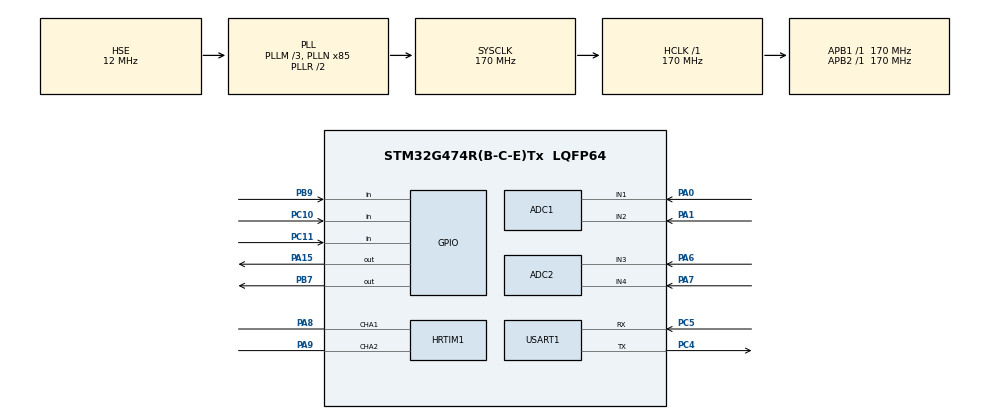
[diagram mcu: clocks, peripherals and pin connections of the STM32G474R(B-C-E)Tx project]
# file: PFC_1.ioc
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ADC1.Channel-1\#ChannelRegularConversion=ADC_CHANNEL_1
ADC1.Channel-2\#ChannelRegularConversion=ADC_CHANNEL_2
ADC1.ContinuousConvMode=ENABLE
ADC1.DMAContinuousRequests=ENABLE
ADC1.EOCSelection=ADC_EOC_SEQ_CONV
ADC1.NbrOfConversion=2
ADC1.NbrOfConversionFlag=1
ADC1.OffsetNumber-1\#ChannelRegularConversion=ADC_OFFSET_NONE
ADC1.OffsetNumber-2\#ChannelRegularConversion=ADC_OFFSET_NONE
ADC1.Rank-1\#ChannelRegularConversion=1
ADC1.Rank-2\#ChannelRegularConversion=2
ADC1.SamplingTime-1\#ChannelRegularConversion=ADC_SAMPLETIME_47CYCLES_5
ADC1.SamplingTime-2\#ChannelRegularConversion=ADC_SAMPLETIME_47CYCLES_5
ADC1.master=1
ADC2.Channel-0\#ChannelRegularConversion=ADC_CHANNEL_3
ADC2.Channel-1\#ChannelRegularConversion=ADC_CHANNEL_4
ADC2.ContinuousConvMode=ENABLE
ADC2.DMAContinuousRequests=ENABLE
ADC2.EOCSelection=ADC_EOC_SEQ_CONV
ADC2.NbrOfConversion=2
ADC2.NbrOfConversionFlag=1
ADC2.OffsetNumber-0\#ChannelRegularConversion=ADC_OFFSET_NONE
ADC2.OffsetNumber-1\#ChannelRegularConversion=ADC_OFFSET_NONE
ADC2.Rank-0\#ChannelRegularConversion=1
ADC2.Rank-1\#ChannelRegularConversion=2
ADC2.SamplingTime-0\#ChannelRegularConversion=ADC_SAMPLETIME_47CYCLES_5
ADC2.SamplingTime-1\#ChannelRegularConversion=ADC_SAMPLETIME_47CYCLES_5
Dma.ADC1.2.Direction=DMA_PERIPH_TO_MEMORY
Dma.ADC1.2.EventEnable=DISABLE
Dma.ADC1.2.Instance=DMA1_Channel3
Dma.ADC1.2.MemDataAlignment=DMA_MDATAALIGN_HALFWORD
Dma.ADC1.2.MemInc=DMA_MINC_ENABLE
Dma.ADC1.2.Mode=DMA_CIRCULAR
Dma.ADC1.2.PeriphDataAlignment=DMA_PDATAALIGN_HALFWORD
Dma.ADC1.2.PeriphInc=DMA_PINC_DISABLE
Dma.ADC1.2.Polarity=HAL_DMAMUX_REQ_GEN_RISING
Dma.ADC1.2.Priority=DMA_PRIORITY_LOW
Dma.ADC1.2.RequestNumber=1
Dma.ADC1.2.SignalID=NONE
Dma.ADC1.2.SyncEnable=DISABLE
Dma.ADC1.2.SyncPolarity=HAL_DMAMUX_SYNC_NO_EVENT
Dma.ADC1.2.SyncRequestNumber=1
Dma.ADC1.2.SyncSignalID=NONE
Dma.ADC2.3.Direction=DMA_PERIPH_TO_MEMORY
Dma.ADC2.3.EventEnable=DISABLE
Dma.ADC2.3.Instance=DMA1_Channel4
Dma.ADC2.3.MemDataAlignment=DMA_MDATAALIGN_HALFWORD
Dma.ADC2.3.MemInc=DMA_MINC_ENABLE
Dma.ADC2.3.Mode=DMA_CIRCULAR
Dma.ADC2.3.PeriphDataAlignment=DMA_PDATAALIGN_HALFWORD
Dma.ADC2.3.PeriphInc=DMA_PINC_DISABLE
Dma.ADC2.3.Polarity=HAL_DMAMUX_REQ_GEN_RISING
Dma.ADC2.3.Priority=DMA_PRIORITY_LOW
Dma.ADC2.3.RequestNumber=1
Dma.ADC2.3.SignalID=NONE
Dma.ADC2.3.SyncEnable=DISABLE
Dma.ADC2.3.SyncPolarity=HAL_DMAMUX_SYNC_NO_EVENT
Dma.ADC2.3.SyncRequestNumber=1
Dma.ADC2.3.SyncSignalID=NONE
Dma.Request0=USART1_RX
Dma.Request1=USART1_TX
Dma.Request2=ADC1
Dma.Request3=ADC2
Dma.USART1_RX.0.Direction=DMA_PERIPH_TO_MEMORY
Dma.USART1_RX.0.EventEnable=DISABLE
Dma.USART1_RX.0.Instance=DMA1_Channel1
Dma.USART1_RX.0.MemDataAlignment=DMA_MDATAALIGN_BYTE
Dma.USART1_RX.0.MemInc=DMA_MINC_ENABLE
Dma.USART1_RX.0.Mode=DMA_NORMAL
Dma.USART1_RX.0.PeriphDataAlignment=DMA_PDATAALIGN_BYTE
Dma.USART1_RX.0.PeriphInc=DMA_PINC_DISABLE
Dma.USART1_RX.0.Polarity=HAL_DMAMUX_REQ_GEN_RISING
Dma.USART1_RX.0.Priority=DMA_PRIORITY_LOW
Dma.USART1_RX.0.RequestNumber=1
Dma.USART1_RX.0.SignalID=NONE
Dma.USART1_RX.0.SyncEnable=DISABLE
Dma.USART1_RX.0.SyncPolarity=HAL_DMAMUX_SYNC_NO_EVENT
Dma.USART1_RX.0.SyncRequestNumber=1
Dma.USART1_RX.0.SyncSignalID=NONE
Dma.USART1_TX.1.Direction=DMA_MEMORY_TO_PERIPH
Dma.USART1_TX.1.EventEnable=DISABLE
Dma.USART1_TX.1.Instance=DMA1_Channel2
Dma.USART1_TX.1.MemDataAlignment=DMA_MDATAALIGN_BYTE
Dma.USART1_TX.1.MemInc=DMA_MINC_ENABLE
Dma.USART1_TX.1.Mode=DMA_NORMAL
Dma.USART1_TX.1.PeriphDataAlignment=DMA_PDATAALIGN_BYTE
Dma.USART1_TX.1.PeriphInc=DMA_PINC_DISABLE
Dma.USART1_TX.1.Polarity=HAL_DMAMUX_REQ_GEN_RISING
Dma.USART1_TX.1.Priority=DMA_PRIORITY_LOW
Dma.USART1_TX.1.RequestNumber=1
Dma.USART1_TX.1.SignalID=NONE
Dma.USART1_TX.1.SyncEnable=DISABLE
Dma.USART1_TX.1.SyncPolarity=HAL_DMAMUX_SYNC_NO_EVENT
Dma.USART1_TX.1.SyncRequestNumber=1
Dma.USART1_TX.1.SyncSignalID=NONE
HRTIM1.CompareUnit1-Output_TA1TA2=HRTIM_COMPAREUNIT_1
HRTIM1.CompareValue1-Output_TA1TA2=36266
HRTIM1.DeadTimeInsertion-Output_TA1TA2=HRTIM_TIMDEADTIMEINSERTION_ENABLED
HRTIM1.FallingValue-Output_TA1TA2=500
HRTIM1.NumberResetSource1-Output_TA1TA2=1
HRTIM1.NumberSetSource1-Output_TA1TA2=1
HRTIM1.Periode_TA=54400
HRTIM1.Polarity1-Output_TA1TA2=HRTIM_OUTPUTPOLARITY_HIGH
HRTIM1.Polarity2-Output_TA1TA2=HRTIM_OUTPUTPOLARITY_HIGH
HRTIM1.PrescalerDead-Output_TA1TA2=HRTIM_TIMDEADTIME_PRESCALERRATIO_MUL2
HRTIM1.PrescalerRatio_TA=HRTIM_PRESCALERRATIO_MUL16
HRTIM1.ResetOutput1_Source1-Output_TA1TA2=HRTIM_OUTPUTRESET_TIMCMP1
HRTIM1.RisingValue-Output_TA1TA2=500
HRTIM1.SetOutput1_Source1-Output_TA1TA2=HRTIM_OUTPUTSET_TIMPER
Mcu.Family=STM32G4
Mcu.Name=STM32G474R(B-C-E)Tx
Mcu.Package=LQFP64
NVIC.ADC1_2_IRQn=true\:0\:0\:false\:false\:true\:true\:true\:true
NVIC.DMA1_Channel1_IRQn=true\:0\:0\:false\:false\:true\:false\:true\:true
NVIC.DMA1_Channel2_IRQn=true\:0\:0\:false\:false\:true\:false\:true\:true
NVIC.DMA1_Channel3_IRQn=true\:0\:0\:false\:false\:true\:false\:true\:true
NVIC.DMA1_Channel4_IRQn=true\:0\:0\:false\:false\:true\:false\:true\:true
NVIC.PriorityGroup=NVIC_PRIORITYGROUP_4
NVIC.TIM3_IRQn=true\:0\:0\:false\:false\:true\:true\:true\:true
NVIC.TIM4_IRQn=true\:0\:0\:false\:false\:true\:true\:true\:true
NVIC.USART1_IRQn=true\:0\:0\:false\:false\:true\:true\:true\:true
PA0.Mode=IN1-Single-Ended
PA0.Signal=ADC1_IN1
PA1.Mode=IN2-Single-Ended
PA1.Signal=ADC1_IN2
PA13.Mode=Serial_Wire
PA13.Signal=SYS_JTMS-SWDIO
PA14.Mode=Serial_Wire
PA14.Signal=SYS_JTCK-SWCLK
PA15.GPIO_ModeDefaultOutputPP=GPIO_MODE_OUTPUT_OD
PA15.GPIO_PuPd=GPIO_NOPULL
PA15.GPIO_Speed=GPIO_SPEED_FREQ_HIGH
PA15.PinState=GPIO_PIN_RESET
PA15.Signal=GPIO_Output
PA6.Mode=IN3-Single-Ended
PA6.Signal=ADC2_IN3
PA7.Mode=IN4-Single-Ended
PA7.Signal=ADC2_IN4
PA8.Mode=Output_TA1TA2
PA8.Signal=HRTIM1_CHA1
PA9.Mode=Output_TA1TA2
PA9.Signal=HRTIM1_CHA2
PB7.GPIO_ModeDefaultOutputPP=GPIO_MODE_OUTPUT_OD
PB7.GPIO_PuPd=GPIO_NOPULL
PB7.GPIO_Speed=GPIO_SPEED_FREQ_HIGH
PB7.PinState=GPIO_PIN_RESET
PB7.Signal=GPIO_Output
PB9.Signal=GPIO_Input
PC10.Signal=GPIO_Input
PC11.Signal=GPIO_Input
PC4.Mode=Asynchronous
PC4.Signal=USART1_TX
PC5.Mode=Asynchronous
PC5.Signal=USART1_RX
PF0-OSC_IN.Mode=HSE-External-Clock-Source
PF0-OSC_IN.Signal=RCC_OSC_IN
ProjectManager.HeapSize=0x200
ProjectManager.StackSize=0x400
ProjectManager.TargetToolchain=MDK-ARM V5.32
RCC.ADC12Freq_Value=170000000
RCC.ADC345Freq_Value=170000000
RCC.AHBFreq_Value=170000000
RCC.APB1Freq_Value=170000000
RCC.APB1TimFreq_Value=170000000
RCC.APB2Freq_Value=170000000
RCC.APB2TimFreq_Value=170000000
RCC.CortexFreq_Value=170000000
RCC.EXTERNAL_CLOCK_VALUE=12288000
RCC.HCLKFreq_Value=170000000
RCC.HSE_VALUE=12000000
RCC.HSI48_VALUE=48000000
RCC.HSI_VALUE=16000000
RCC.LSE_VALUE=32768
RCC.PLLM=RCC_PLLM_DIV3
RCC.PLLN=85
RCC.PLLSourceVirtual=RCC_PLLSOURCE_HSE
RCC.SYSCLKFreq_VALUE=170000000
RCC.SYSCLKSource=RCC_SYSCLKSOURCE_PLLCLK
RCC.USBFreq_Value=170000000
RCC.VCOOutputFreq_Value=340000000
STMicroelectronics.X-CUBE-ALGOBUILD.1.4.0.LibraryCcDSPOoLibraryJjDSPOoLibrary=true
TIM3.PeriodNoDither=75-1
TIM3.Prescaler=170-1
TIM4.PeriodNoDither=1000-1
TIM4.Prescaler=170-1
USART1.VirtualMode-Asynchronous=VM_ASYNC
VP_STMicroelectronics.X-CUBE-ALGOBUILD_VS_DSPOoLibraryJjLibrary_1.4.0_1.4.0.Mode=DSPOoLibraryJjLibrary
VP_SYS_VS_DBSignals.Mode=DisableDeadBatterySignals
VP_TIM3_VS_ClockSourceINT.Mode=Internal
VP_TIM4_VS_ClockSourceINT.Mode=Internal
board=custom

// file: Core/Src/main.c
/* USER CODE BEGIN Header */
/**
  ******************************************************************************
  * @file           : main.c
  * @brief          : Main program body
  ******************************************************************************
  * @attention
  *
  * Copyright (c) 2025 STMicroelectronics.
  * All rights reserved.
  *
  * This software is licensed under terms that can be found in the LICENSE file
  * in the root directory of this software component.
  * If no LICENSE file comes with this software, it is provided AS-IS.
  *
  ******************************************************************************
  */
/* USER CODE END Header */
#include "main.h"
#include "adc.h"
#include "dma.h"
#include "hrtim.h"
#include "tim.h"
#include "usart.h"
#include "gpio.h"

/* USER CODE BEGIN Includes */
#include "arm_math.h"
#include "OLED.h"
/* USER CODE END Includes */

/* USER CODE BEGIN PD */
#define CENTER_FREQ 50
#define SOGI_K 1
#define SAMPLE_TIME 0.000075
#define LIMIT(x,min,max) (x)=(((x)<=(min))?(min):(((x)>=(max))?(max):(x)))
/* USER CODE END PD */

/* USER CODE BEGIN PV */
typedef struct SOGI_Structure
{
    float32_t Ug, Ua, Ub, k, W0, dt;
}SOGI_s;

SOGI_s sogi_s;
float32_t t;
float32_t wave_input;

float32_t d,q;
float32_t sinVal, cosVal;
float32_t w = CENTER_FREQ * 2 * PI;
float32_t phase_W = 0.0;

uint16_t ADC1_Buffer[2];
uint16_t ADC2_Buffer[2];

arm_pid_instance_f32 PID_S;
float32_t out_cosine;
float32_t out_amplitude = 0.7;
float32_t out_duty;
uint16_t out_pwm;

SOGI_s sogi_s_I;
float32_t Id, Iq;

float32_t out_U;
float32_t out_U_set = 36;

uint16_t soft_start = 30000;

uint8_t PinB9_Pressed,PinC11_Pressed,PinC10_Pressed;
uint16_t PinB9_Pressed_Counter,PinC11_Pressed_Counter,PinC10_Pressed_Counter;

float32_t pf;
float32_t pf_buffer[10];
uint16_t pf_counter;
uint32_t pf_index;
float32_t Iq_buffer[20], Id_buffer[20];
float32_t Iq_mean, Id_mean;
/* USER CODE END PV */

void SystemClock_Config(void);
/* USER CODE BEGIN PFP */
void SOGI_init(SOGI_s * s);
void SOGI_calculate(SOGI_s * s);
/* USER CODE END PFP */

int main(void)
{

  /* MCU Configuration--------------------------------------------------------*/

  /* Reset of all peripherals, Initializes the Flash interface and the Systick. */
  HAL_Init();

  /* Configure the system clock */
  SystemClock_Config();

  /* Initialize all configured peripherals */
  MX_GPIO_Init();
  MX_DMA_Init();
  MX_HRTIM1_Init();
  MX_TIM3_Init();
  MX_USART1_UART_Init();
  MX_TIM4_Init();
  MX_ADC1_Init();
  MX_ADC2_Init();
  /* USER CODE BEGIN 2 */
	SOGI_init(&sogi_s);
	SOGI_init(&sogi_s_I);
	sogi_s_I.dt = 4*SAMPLE_TIME;

	PID_S.Kp = 0.002;
	PID_S.Ki = 0;
	PID_S.Kd = 0.002;
	arm_pid_init_f32(&PID_S, 1);

	HAL_ADCEx_Calibration_Start(&hadc1, ADC_SINGLE_ENDED);
	HAL_Delay(200);
	HAL_ADC_Start_DMA(&hadc1,(uint32_t *)ADC1_Buffer, 2);
	HAL_ADC_Start_DMA(&hadc2,(uint32_t *)ADC2_Buffer, 2);

	OLED_Init();

	HAL_HRTIM_WaveformCounterStart(&hhrtim1, HRTIM_TIMERID_TIMER_A);
	HAL_TIM_Base_Start_IT(&htim3);
	HAL_TIM_Base_Start_IT(&htim4);

	OLED_ShowChar(0, 0, 'A', OLED_6X8);
	OLED_Update();

  /* USER CODE END 2 */

  /* Infinite loop */
  /* USER CODE BEGIN WHILE */
  while (1)
  {
		static uint16_t OLED_counter = 200;

		if(1)
		{
			if(!HAL_GPIO_ReadPin(GPIOB, GPIO_PIN_9) && !PinB9_Pressed)
			{
				if(PinB9_Pressed_Counter==200)
				{
					phase_W+=0.05;
					LIMIT(phase_W,-0.2,0.4);

					PinB9_Pressed = 1;
				}
				else
					PinB9_Pressed_Counter++;
			}
			if(HAL_GPIO_ReadPin(GPIOB, GPIO_PIN_9))
			{
				if(PinB9_Pressed && PinB9_Pressed_Counter)
					PinB9_Pressed_Counter--;
				if(PinB9_Pressed && !PinB9_Pressed_Counter)
					PinB9_Pressed = 0;
			}

			if(!HAL_GPIO_ReadPin(GPIOC, GPIO_PIN_11) && !PinC11_Pressed)
			{
				if(PinC11_Pressed_Counter==200)
				{
					phase_W-=0.05;
					LIMIT(phase_W,-0.2,0.4);

					PinC11_Pressed = 1;
				}
				else
					PinC11_Pressed_Counter++;
			}
			if(HAL_GPIO_ReadPin(GPIOC, GPIO_PIN_11))
			{
				if(PinC11_Pressed && PinC11_Pressed_Counter)
					PinC11_Pressed_Counter--;
				if(PinC11_Pressed && !PinC11_Pressed_Counter)
					PinC11_Pressed = 0;
			}

			if(!HAL_GPIO_ReadPin(GPIOC, GPIO_PIN_10) && !PinC10_Pressed)
			{
				if(PinC10_Pressed_Counter==200)
				{

					PinC10_Pressed = 1;
				}
				else
					PinC10_Pressed_Counter++;
			}
			if(HAL_GPIO_ReadPin(GPIOC, GPIO_PIN_10))
			{
				if(PinC10_Pressed && PinC10_Pressed_Counter)
					PinC10_Pressed_Counter--;
				if(PinC10_Pressed && !PinC10_Pressed_Counter)
					PinC10_Pressed = 0;
			}
		}
		if(!OLED_counter)
		{
			OLED_Printf(0, 0, OLED_6X8, "PF:%.3f", pf);
			OLED_Printf(0, 8, OLED_6X8, "W:%.3f", phase_W);
			OLED_Update();
			OLED_counter = 400;
		}
		else
		{
			OLED_counter--;
		}
//		OLED_Clear();

    /* USER CODE END WHILE */

  }
}

void SystemClock_Config(void)
{
  RCC_OscInitTypeDef RCC_OscInitStruct = {0};
  RCC_ClkInitTypeDef RCC_ClkInitStruct = {0};

  /** Configure the main internal regulator output voltage
  */
  HAL_PWREx_ControlVoltageScaling(PWR_REGULATOR_VOLTAGE_SCALE1_BOOST);

  /** Initializes the RCC Oscillators according to the specified parameters
  * in the RCC_OscInitTypeDef structure.
  */
  RCC_OscInitStruct.OscillatorType = RCC_OSCILLATORTYPE_HSE;
  RCC_OscInitStruct.HSEState = RCC_HSE_BYPASS;
  RCC_OscInitStruct.PLL.PLLState = RCC_PLL_ON;
  RCC_OscInitStruct.PLL.PLLSource = RCC_PLLSOURCE_HSE;
  RCC_OscInitStruct.PLL.PLLM = RCC_PLLM_DIV3;
  RCC_OscInitStruct.PLL.PLLN = 85;
  RCC_OscInitStruct.PLL.PLLP = RCC_PLLP_DIV2;
  RCC_OscInitStruct.PLL.PLLQ = RCC_PLLQ_DIV2;
  RCC_OscInitStruct.PLL.PLLR = RCC_PLLR_DIV2;
  if (HAL_RCC_OscConfig(&RCC_OscInitStruct) != HAL_OK)
  {
    Error_Handler();
  }

  /** Initializes the CPU, AHB and APB buses clocks
  */
  RCC_ClkInitStruct.ClockType = RCC_CLOCKTYPE_HCLK|RCC_CLOCKTYPE_SYSCLK
                              |RCC_CLOCKTYPE_PCLK1|RCC_CLOCKTYPE_PCLK2;
  RCC_ClkInitStruct.SYSCLKSource = RCC_SYSCLKSOURCE_PLLCLK;
  RCC_ClkInitStruct.AHBCLKDivider = RCC_SYSCLK_DIV1;
  RCC_ClkInitStruct.APB1CLKDivider = RCC_HCLK_DIV1;
  RCC_ClkInitStruct.APB2CLKDivider = RCC_HCLK_DIV1;

  if (HAL_RCC_ClockConfig(&RCC_ClkInitStruct, FLASH_LATENCY_4) != HAL_OK)
  {
    Error_Handler();
  }
}

/* USER CODE BEGIN 4 */
void HAL_TIM_PeriodElapsedCallback(TIM_HandleTypeDef *htim)
{
	if(htim->Instance == TIM3)
	{
		static uint16_t SOGI_I_counter = 1;

		if(soft_start > 1)
			soft_start--;
		if(soft_start == 1 && (out_pwm < 6000))
		{
			out_amplitude = 0.8;
			HAL_HRTIM_WaveformOutputStart(&hhrtim1, HRTIM_OUTPUT_TA1 | HRTIM_OUTPUT_TA2);
			soft_start = 0;
		}

		t += SAMPLE_TIME;
		if(t > (2 * PI / w))
			t -=	2 * PI / w;
		sogi_s.Ug = ADC1_Buffer[0] / 2048.0 - 1;
		arm_sin_cos_f32(180 / PI * w * t, &sinVal, &cosVal);
		SOGI_calculate(&sogi_s);
		arm_park_f32(cosVal, sinVal, &d, &q, sogi_s.Ub, sogi_s.Ua);
		w += phase_W - q * PI;
		out_duty = arm_cos_f32(w * t);
		out_duty = out_duty > 0 ? out_duty : -out_duty;
		out_duty *= out_amplitude;
		out_pwm = 54400 * out_duty;
		LIMIT(out_pwm,4200,48960);
		__HAL_HRTIM_SETCOMPARE(&hhrtim1, HRTIM_TIMERINDEX_TIMER_A, HRTIM_COMPAREUNIT_1, out_pwm);

		if(!SOGI_I_counter)
		{
			sogi_s_I.Ug = ADC2_Buffer[0] / 2048.0 - 1;
			SOGI_calculate(&sogi_s_I);
			arm_park_f32(sogi_s_I.Ua, sogi_s_I.Ub, &Id, &Iq, sogi_s.Ub, sogi_s.Ua);
			SOGI_I_counter = 3;

			out_U = 0.02362 * ADC1_Buffer[1] - 48.24810356169533;
			out_amplitude -= arm_pid_f32(&PID_S, out_U_set - out_U) / 100;
			LIMIT(out_amplitude,0.5,0.8);
		}
		else
		{
			SOGI_I_counter--;
		}
	}

	if(htim->Instance == TIM4)
	{
		static uint16_t i;
		i++;
		Id_buffer[i] = Id;
		Iq_buffer[i] = Iq;
		if(i>=19)
		{
			i = 0;
			arm_mean_f32(Id_buffer, 20, &Id_mean);
			arm_max_f32(Iq_buffer, 20, &Iq_mean, &pf_index);
			arm_sqrt_f32(Id_mean*Id_mean + Iq_mean*Iq_mean, &pf);
			pf = Id_mean / pf -0.02;
		}
	}
}
void SOGI_init(SOGI_s * s)
{
    s -> Ug = 0;
    s -> Ua = 0;
    s -> Ub = 0;
    s -> k = SOGI_K;
    s -> W0 = CENTER_FREQ * 2 * PI;
    s -> dt = SAMPLE_TIME;
}
void SOGI_calculate(SOGI_s * s)
{
    s -> Ua += ((s -> Ug - s -> Ua) * s -> k - s -> Ub) * s -> W0 * s -> dt;
    LIMIT(s -> Ua, -1.0, 1.0);
    s -> Ub += s -> Ua * s -> W0 * s -> dt;
    LIMIT(s -> Ub, -1.0, 1.0);
}
/* USER CODE END 4 */

void Error_Handler(void)
{
  __disable_irq();
  while (1)
  {
  }
}
